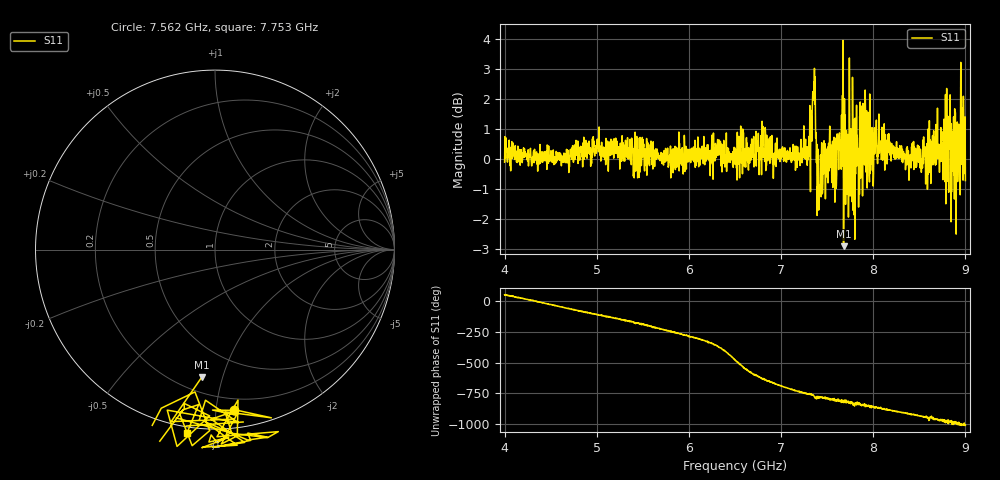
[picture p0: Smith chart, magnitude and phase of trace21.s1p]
! Created with skrf 1.8.0 (http://scikit-rf.org).
# Hz S RI R 50.0
!freq ReS11 ImS11
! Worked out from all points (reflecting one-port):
!   1601 points, 4 GHz to 9 GHz, reference 50 ohm
!   lowest |S11| = -2.9 dB at 7.678 GHz (marker M1), VSWR 6.05, Z = 14.6 - j42.8 ohm
!   phase of S11 starts at 49 deg and turns -1056 deg over the sweep
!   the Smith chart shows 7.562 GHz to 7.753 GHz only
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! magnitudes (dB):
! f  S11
! 4 GHz  -0.1
! 4.625 GHz  -0.1
! 5.25 GHz  -0.3
! 5.875 GHz  0.2
! 6.5 GHz  -0.1
! 6.806 GHz  0.1
! 7.125 GHz  0.2
! 7.294 GHz  0.0
! 7.347 GHz  2.0
! 7.362 GHz  3.0
! 7.409 GHz  -1.7
! 7.481 GHz  -1.3
! 7.578 GHz  0.6
! 7.65 GHz  0.2
! 7.678 GHz  -2.9
! 7.703 GHz  -0.2
! 7.75 GHz  -1.2
! 7.825 GHz  0.8
! 7.844 GHz  -0.2
! 7.928 GHz  1.6
! 7.981 GHz  -0.2
! 8.094 GHz  1.1
! 8.375 GHz  0.1
! 8.581 GHz  -0.3
! 8.816 GHz  -0.2
! 8.875 GHz  -0.5
! 8.972 GHz  -0.2
! 9 GHz  -0.7
